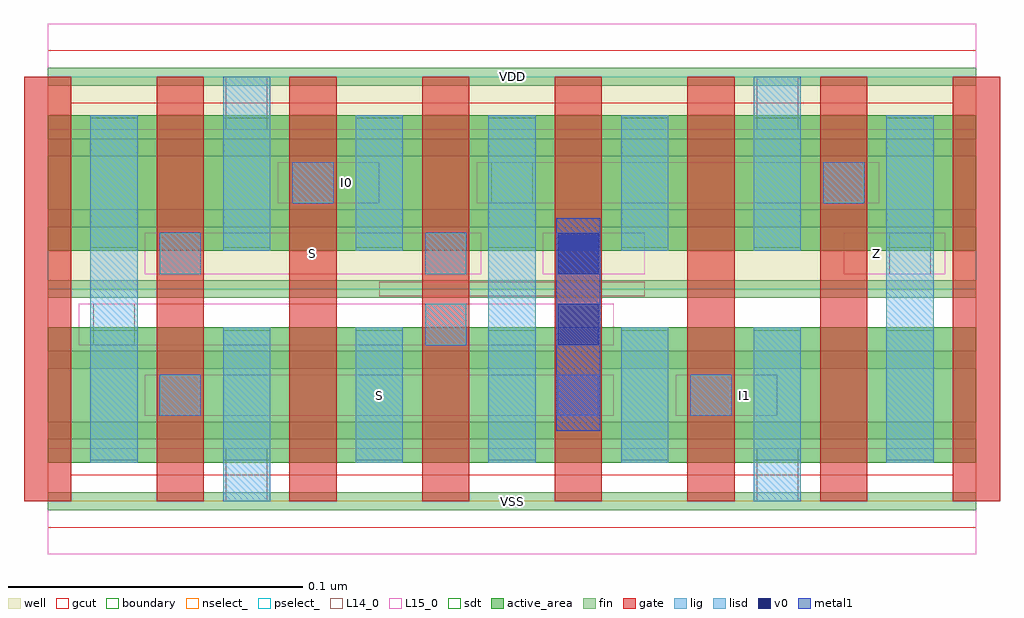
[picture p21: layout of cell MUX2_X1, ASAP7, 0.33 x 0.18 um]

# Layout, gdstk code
import gdstk
lib = gdstk.Library(unit=1e-6, precision=2.5e-10)
def R(c, l, rs):  # rectangles x0, y0, x1, y1
    for r in rs: c.add(gdstk.rectangle(r[:2], r[2:], *l))
def A(c, l, x, y, w, h, nx, ny, dx, dy):  # array of equal rectangles
    R(c, l, [(x+i*dx, y+j*dy, x+i*dx+w, y+j*dy+h) for i in range(nx) for j in range(ny)])
def P(c, l, *ps):  # polygons
    for p in ps: c.add(gdstk.Polygon(p, *l))
well = (1, 0)
fin = (2, 0)
gate = (7, 0)
gcut = (10, 0)
active_area = (11, 0)
nselect_ = (12, 0)
pselect_ = (13, 0)
L14_0 = (14, 0)
L15_0 = (15, 0)
lig = (16, 0)
lisd = (17, 0)
v0 = (18, 0)
metal1 = (19, 0)
sdt = (88, 0)
boundary = (100, 0)

mux2_x1 = lib.new_cell('MUX2_X1')
R(mux2_x1, well, [(0,0.072,0.315,0.144)])
A(mux2_x1, fin, 0, -0.003, 0.315, 0.006, 1, 7, 0, 0.024)
A(mux2_x1, gate, -0.008, 0, 0.016, 0.144, 8, 1, 0.045, 0)
R(mux2_x1, gcut, [(0.1125,0.0695,0.2025,0.0745)])
P(mux2_x1, gcut, [(0,-0.009),(0,0),(-0.008,0),(-0.008,0.135),(0.008,0.135),(0.008,0.009),(0.307,0.009),(0.307,0.135),(-0.008,0.135),(-0.008,0.144),(0,0.144),(0,0.153),(0.315,0.153),(0.315,0.144),(0.323,0.144),(0.323,0),(0.315,0),(0.315,-0.009)])
R(mux2_x1, active_area, [(0,0.013,0.315,0.059), (0,0.085,0.315,0.131)])
R(mux2_x1, nselect_, [(0,0,0.315,0.072)])
R(mux2_x1, pselect_, [(0,0.072,0.315,0.144)])
R(mux2_x1, L14_0, [(0.0605,0,0.0745,0.018), (0.2405,0,0.2545,0.018), (0.038,0.029,0.052,0.043), (0.173,0.029,0.187,0.043), (0.218,0.029,0.232,0.043), (0.0155,0.053,0.0295,0.067), (0.128,0.053,0.142,0.067), (0.038,0.077,0.052,0.091), (0.128,0.077,0.142,0.091), (0.173,0.077,0.187,0.091), (0.2855,0.077,0.2995,0.091), (0.083,0.101,0.097,0.115), (0.1505,0.101,0.1645,0.115), (0.263,0.101,0.277,0.115), (0.0605,0.126,0.0745,0.144), (0.2405,0.126,0.2545,0.144)])
R(mux2_x1, L15_0, [(0,-0.018,0.315,0.018), (0.033,0.029,0.192,0.043), (0.213,0.029,0.2475,0.043), (0.0105,0.053,0.192,0.067), (0.033,0.077,0.147,0.091), (0.168,0.077,0.2025,0.091), (0.27,0.077,0.3045,0.091), (0.078,0.101,0.1125,0.115), (0.1455,0.101,0.282,0.115), (0,0.126,0.315,0.162)])
R(mux2_x1, lig, [(0.038,0.029,0.052,0.043), (0.173,0.029,0.187,0.043), (0.218,0.029,0.232,0.043), (0.128,0.053,0.142,0.067), (0.038,0.077,0.052,0.091), (0.128,0.077,0.142,0.091), (0.173,0.077,0.187,0.091), (0.083,0.101,0.097,0.115), (0.263,0.101,0.277,0.115)])
A(mux2_x1, lisd, 0.0145, 0.013, 0.016, 0.118, 3, 1, 0.135, 0)
R(mux2_x1, lisd, [(0.0595,0,0.0755,0.059), (0.2395,0,0.2555,0.059), (0.1045,0.013,0.1205,0.059), (0.1945,0.013,0.2105,0.059), (0.0595,0.085,0.0755,0.144), (0.1045,0.085,0.1205,0.131), (0.1945,0.085,0.2105,0.131), (0.2395,0.085,0.2555,0.144)])
R(mux2_x1, v0, [(0.173,0.053,0.187,0.067), (0.173,0.077,0.187,0.091)])
R(mux2_x1, metal1, [(0.1725,0.024,0.1875,0.096)])
A(mux2_x1, sdt, 0.0145, 0.014, 0.016, 0.044, 7, 2, 0.045, 0.072)
R(mux2_x1, boundary, [(0,0,0.315,0.144)])
mux2_x1.add(gdstk.Label('I1', (0.2363,0.036), layer=15, texttype=251))
mux2_x1.add(gdstk.Label('VSS', (0.1575,0), layer=15, texttype=251))
mux2_x1.add(gdstk.Label('VDD', (0.1575,0.144), layer=15, texttype=251))
mux2_x1.add(gdstk.Label('I0', (0.1013,0.108), layer=15, texttype=251))
mux2_x1.add(gdstk.Label('VSS', (0.1575,0), layer=15, texttype=251))
mux2_x1.add(gdstk.Label('VDD', (0.1575,0.144), layer=15, texttype=251))
mux2_x1.add(gdstk.Label('S', (0.09,0.084), layer=15, texttype=251))
mux2_x1.add(gdstk.Label('S', (0.1125,0.036), layer=15, texttype=251))
mux2_x1.add(gdstk.Label('VSS', (0.1575,0), layer=15, texttype=251))
mux2_x1.add(gdstk.Label('VDD', (0.1575,0.144), layer=15, texttype=251))
mux2_x1.add(gdstk.Label('Z', (0.2813,0.084), layer=15, texttype=251))
mux2_x1.add(gdstk.Label('VSS', (0.1575,0), layer=15, texttype=251))
mux2_x1.add(gdstk.Label('VDD', (0.1575,0.144), layer=15, texttype=251))
mux2_x1.add(gdstk.Label('VSS', (0.1575,0), layer=3, texttype=251))
mux2_x1.add(gdstk.Label('VSS', (0.1575,0), layer=3, texttype=251))
mux2_x1.add(gdstk.Label('VSS', (0.1575,0), layer=3, texttype=251))
mux2_x1.add(gdstk.Label('VSS', (0.1575,0), layer=3, texttype=251))
mux2_x1.add(gdstk.Label('VDD', (0.1575,0.144), layer=1, texttype=251))
mux2_x1.add(gdstk.Label('VDD', (0.1575,0.144), layer=1, texttype=251))
mux2_x1.add(gdstk.Label('VDD', (0.1575,0.144), layer=1, texttype=251))
mux2_x1.add(gdstk.Label('VDD', (0.1575,0.144), layer=1, texttype=251))

lib.write_gds('MUX2_X1.gds')
